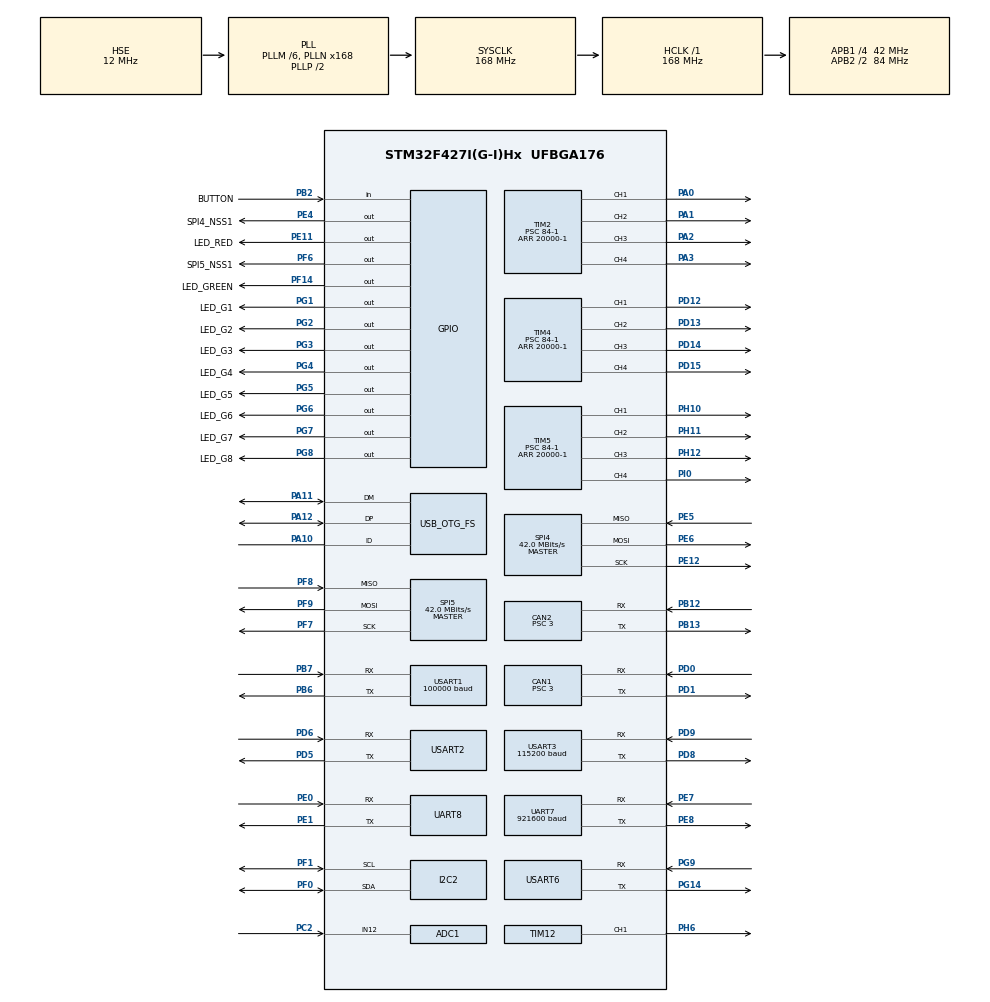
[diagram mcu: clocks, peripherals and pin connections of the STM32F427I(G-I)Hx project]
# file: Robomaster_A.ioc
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ADC1.Channel-0\#ChannelRegularConversion=ADC_CHANNEL_12
ADC1.NbrOfConversionFlag=1
ADC1.Rank-0\#ChannelRegularConversion=1
ADC1.SamplingTime-0\#ChannelRegularConversion=ADC_SAMPLETIME_3CYCLES
ADC1.master=1
CAN1.ABOM=ENABLE
CAN1.BS1=CAN_BS1_10TQ
CAN1.BS2=CAN_BS2_3TQ
CAN1.CalculateBaudRate=1000000
CAN1.CalculateTimeBit=1000
CAN1.CalculateTimeQuantum=71.42857142857143
CAN1.NART=ENABLE
CAN1.Prescaler=3
CAN2.ABOM=DISABLE
CAN2.BS1=CAN_BS1_10TQ
CAN2.BS2=CAN_BS2_3TQ
CAN2.CalculateBaudRate=1000000
CAN2.CalculateTimeBit=1000
CAN2.CalculateTimeQuantum=71.42857142857143
CAN2.NART=DISABLE
CAN2.Prescaler=3
CAN2.SJW=CAN_SJW_2TQ
Dma.Request0=TIM1_UP
Dma.Request1=TIM8_UP
Dma.TIM1_UP.0.Direction=DMA_MEMORY_TO_PERIPH
Dma.TIM1_UP.0.FIFOMode=DMA_FIFOMODE_ENABLE
Dma.TIM1_UP.0.FIFOThreshold=DMA_FIFO_THRESHOLD_FULL
Dma.TIM1_UP.0.Instance=DMA2_Stream5
Dma.TIM1_UP.0.MemBurst=DMA_MBURST_SINGLE
Dma.TIM1_UP.0.MemDataAlignment=DMA_MDATAALIGN_WORD
Dma.TIM1_UP.0.MemInc=DMA_MINC_ENABLE
Dma.TIM1_UP.0.Mode=DMA_NORMAL
Dma.TIM1_UP.0.PeriphBurst=DMA_PBURST_SINGLE
Dma.TIM1_UP.0.PeriphDataAlignment=DMA_PDATAALIGN_WORD
Dma.TIM1_UP.0.PeriphInc=DMA_PINC_DISABLE
Dma.TIM1_UP.0.Priority=DMA_PRIORITY_VERY_HIGH
Dma.TIM8_UP.1.Direction=DMA_PERIPH_TO_MEMORY
Dma.TIM8_UP.1.FIFOMode=DMA_FIFOMODE_DISABLE
Dma.TIM8_UP.1.Instance=DMA2_Stream1
Dma.TIM8_UP.1.MemDataAlignment=DMA_MDATAALIGN_HALFWORD
Dma.TIM8_UP.1.MemInc=DMA_MINC_ENABLE
Dma.TIM8_UP.1.Mode=DMA_NORMAL
Dma.TIM8_UP.1.PeriphDataAlignment=DMA_PDATAALIGN_HALFWORD
Dma.TIM8_UP.1.PeriphInc=DMA_PINC_DISABLE
Dma.TIM8_UP.1.Priority=DMA_PRIORITY_VERY_HIGH
FREERTOS.Tasks01=defaultTask,24,128,StartDefaultTask,Default,NULL,Dynamic,NULL,NULL
Mcu.Family=STM32F4
Mcu.Name=STM32F427I(G-I)Hx
Mcu.Package=UFBGA176
NVIC.CAN1_RX0_IRQn=true\:5\:0\:true\:false\:true\:true\:true\:true\:true
NVIC.CAN1_TX_IRQn=true\:5\:0\:true\:false\:true\:true\:true\:true\:true
NVIC.CAN2_RX0_IRQn=true\:5\:0\:true\:false\:true\:true\:true\:true\:true
NVIC.CAN2_TX_IRQn=true\:5\:0\:true\:false\:true\:true\:true\:true\:true
NVIC.DMA2_Stream1_IRQn=true\:5\:0\:true\:false\:true\:true\:false\:true\:true
NVIC.DMA2_Stream5_IRQn=true\:6\:0\:true\:false\:true\:true\:false\:true\:true
NVIC.PriorityGroup=NVIC_PRIORITYGROUP_4
NVIC.TIM1_UP_TIM10_IRQn=true\:15\:0\:false\:false\:true\:false\:false\:true\:true
NVIC.TIM6_DAC_IRQn=true\:15\:0\:false\:false\:true\:false\:false\:true\:true
NVIC.TIM7_IRQn=true\:5\:0\:true\:false\:true\:true\:true\:true\:true
NVIC.TimeBase=TIM6_DAC_IRQn
NVIC.TimeBaseIP=TIM6
NVIC.UART7_IRQn=true\:5\:0\:true\:false\:true\:true\:true\:true\:true
NVIC.UART8_IRQn=true\:5\:0\:true\:false\:true\:true\:true\:true\:true
NVIC.USART1_IRQn=true\:5\:0\:true\:false\:true\:true\:true\:true\:true
NVIC.USART2_IRQn=true\:5\:0\:true\:false\:true\:true\:true\:true\:true
NVIC.USART3_IRQn=true\:5\:0\:true\:false\:true\:true\:true\:true\:true
NVIC.USART6_IRQn=true\:5\:0\:true\:false\:true\:true\:true\:true\:true
PA0/WKUP.Signal=S_TIM2_CH1_ETR
PA1.Signal=S_TIM2_CH2
PA10.Mode=OTG/Dual_Role_Device
PA10.Signal=USB_OTG_FS_ID
PA11.Mode=OTG/Dual_Role_Device
PA11.Signal=USB_OTG_FS_DM
PA12.Mode=OTG/Dual_Role_Device
PA12.Signal=USB_OTG_FS_DP
PA13.Mode=Serial_Wire
PA13.Signal=SYS_JTMS-SWDIO
PA14.Mode=Serial_Wire
PA14.Signal=SYS_JTCK-SWCLK
PA2.GPIO_Speed=GPIO_SPEED_FREQ_VERY_HIGH
PA2.Signal=S_TIM2_CH3
PA3.GPIO_Speed=GPIO_SPEED_FREQ_VERY_HIGH
PA3.Signal=S_TIM2_CH4
PB12.Mode=CAN_Activate
PB12.Signal=CAN2_RX
PB13.Mode=CAN_Activate
PB13.Signal=CAN2_TX
PB2/BOOT1.GPIO_Label=BUTTON
PB2/BOOT1.GPIO_PuPd=GPIO_PULLDOWN
PB2/BOOT1.Signal=GPIO_Input
PB6.Mode=Asynchronous
PB6.Signal=USART1_TX
PB7.Mode=Asynchronous
PB7.Signal=USART1_RX
PC2.Signal=ADCx_IN12
PD0.Mode=CAN_Activate
PD0.Signal=CAN1_RX
PD1.Mode=CAN_Activate
PD1.Signal=CAN1_TX
PD12.GPIO_Speed=GPIO_SPEED_FREQ_VERY_HIGH
PD12.Signal=S_TIM4_CH1
PD13.GPIO_Speed=GPIO_SPEED_FREQ_VERY_HIGH
PD13.Signal=S_TIM4_CH2
PD14.GPIO_Speed=GPIO_SPEED_FREQ_VERY_HIGH
PD14.Signal=S_TIM4_CH3
PD15.GPIO_Speed=GPIO_SPEED_FREQ_VERY_HIGH
PD15.Signal=S_TIM4_CH4
PD5.Mode=Asynchronous
PD5.Signal=USART2_TX
PD6.Mode=Asynchronous
PD6.Signal=USART2_RX
PD8.Mode=Asynchronous
PD8.Signal=USART3_TX
PD9.Mode=Asynchronous
PD9.Signal=USART3_RX
PE0.Mode=Asynchronous
PE0.Signal=UART8_RX
PE1.Mode=Asynchronous
PE1.Signal=UART8_TX
PE11.GPIO_Label=LED_RED
PE11.GPIO_PuPd=GPIO_PULLUP
PE11.Signal=GPIO_Output
PE12.Mode=Full_Duplex_Master
PE12.Signal=SPI4_SCK
PE4.GPIO_Label=SPI4_NSS1
PE4.GPIO_PuPd=GPIO_PULLUP
PE4.GPIO_Speed=GPIO_SPEED_FREQ_VERY_HIGH
PE4.Signal=GPIO_Output
PE5.Mode=Full_Duplex_Master
PE5.Signal=SPI4_MISO
PE6.Mode=Full_Duplex_Master
PE6.Signal=SPI4_MOSI
PE7.Mode=Asynchronous
PE7.Signal=UART7_RX
PE8.Mode=Asynchronous
PE8.Signal=UART7_TX
PF0.Mode=I2C
PF0.Signal=I2C2_SDA
PF1.Mode=I2C
PF1.Signal=I2C2_SCL
PF14.GPIO_Label=LED_GREEN
PF14.GPIO_PuPd=GPIO_PULLUP
PF14.Signal=GPIO_Output
PF6.GPIO_Label=SPI5_NSS1
PF6.GPIO_ModeDefaultOutputPP=GPIO_MODE_OUTPUT_PP
PF6.GPIO_PuPd=GPIO_PULLUP
PF6.GPIO_Speed=GPIO_SPEED_FREQ_VERY_HIGH
PF6.Signal=GPIO_Output
PF7.Mode=Full_Duplex_Master
PF7.Signal=SPI5_SCK
PF8.Mode=Full_Duplex_Master
PF8.Signal=SPI5_MISO
PF9.Mode=Full_Duplex_Master
PF9.Signal=SPI5_MOSI
PG1.GPIO_Label=LED_G1
PG1.GPIO_PuPd=GPIO_PULLUP
PG1.Signal=GPIO_Output
PG14.Mode=Asynchronous
PG14.Signal=USART6_TX
PG2.GPIO_Label=LED_G2
PG2.GPIO_PuPd=GPIO_PULLUP
PG2.Signal=GPIO_Output
PG3.GPIO_Label=LED_G3
PG3.GPIO_PuPd=GPIO_PULLUP
PG3.Signal=GPIO_Output
PG4.GPIO_Label=LED_G4
PG4.GPIO_PuPd=GPIO_PULLUP
PG4.Signal=GPIO_Output
PG5.GPIO_Label=LED_G5
PG5.GPIO_PuPd=GPIO_PULLUP
PG5.Signal=GPIO_Output
PG6.GPIO_Label=LED_G6
PG6.GPIO_PuPd=GPIO_PULLUP
PG6.Signal=GPIO_Output
PG7.GPIO_Label=LED_G7
PG7.GPIO_PuPd=GPIO_PULLUP
PG7.Signal=GPIO_Output
PG8.GPIO_Label=LED_G8
PG8.GPIO_PuPd=GPIO_PULLUP
PG8.Signal=GPIO_Output
PG9.Mode=Asynchronous
PG9.Signal=USART6_RX
PH0/OSC_IN.Mode=HSE-External-Oscillator
PH0/OSC_IN.Signal=RCC_OSC_IN
PH1/OSC_OUT.Mode=HSE-External-Oscillator
PH1/OSC_OUT.Signal=RCC_OSC_OUT
PH10.GPIO_Speed=GPIO_SPEED_FREQ_VERY_HIGH
PH10.Signal=S_TIM5_CH1
PH11.GPIO_Speed=GPIO_SPEED_FREQ_VERY_HIGH
PH11.Signal=S_TIM5_CH2
PH12.GPIO_Speed=GPIO_SPEED_FREQ_VERY_HIGH
PH12.Signal=S_TIM5_CH3
PH6.Signal=S_TIM12_CH1
PI0.GPIO_Speed=GPIO_SPEED_FREQ_VERY_HIGH
PI0.Signal=S_TIM5_CH4
ProjectManager.HeapSize=0x3000
ProjectManager.StackSize=0x5000
ProjectManager.TargetToolchain=CMake
RCC.48MHZClocksFreq_Value=48000000
RCC.AHBFreq_Value=168000000
RCC.APB1CLKDivider=RCC_HCLK_DIV4
RCC.APB1Freq_Value=42000000
RCC.APB1TimFreq_Value=84000000
RCC.APB2CLKDivider=RCC_HCLK_DIV2
RCC.APB2Freq_Value=84000000
RCC.APB2TimFreq_Value=168000000
RCC.CortexFreq_Value=168000000
RCC.HCLKFreq_Value=168000000
RCC.HSE_VALUE=12000000
RCC.HSI_VALUE=16000000
RCC.LSE_VALUE=32768
RCC.PLLM=6
RCC.PLLN=168
RCC.PLLQ=7
RCC.SYSCLKFreq_VALUE=168000000
RCC.SYSCLKSource=RCC_SYSCLKSOURCE_PLLCLK
RCC.VCOOutputFreq_Value=336000000
SH.ADCx_IN12.0=ADC1_IN12,IN12
SH.S_TIM12_CH1.0=TIM12_CH1,PWM Generation1 CH1
SH.S_TIM2_CH1_ETR.0=TIM2_CH1,PWM Generation1 CH1
SH.S_TIM2_CH2.0=TIM2_CH2,PWM Generation2 CH2
SH.S_TIM2_CH3.0=TIM2_CH3,PWM Generation3 CH3
SH.S_TIM2_CH4.0=TIM2_CH4,PWM Generation4 CH4
SH.S_TIM4_CH1.0=TIM4_CH1,PWM Generation1 CH1
SH.S_TIM4_CH2.0=TIM4_CH2,PWM Generation2 CH2
SH.S_TIM4_CH3.0=TIM4_CH3,PWM Generation3 CH3
SH.S_TIM4_CH4.0=TIM4_CH4,PWM Generation4 CH4
SH.S_TIM5_CH1.0=TIM5_CH1,PWM Generation1 CH1
SH.S_TIM5_CH2.0=TIM5_CH2,PWM Generation2 CH2
SH.S_TIM5_CH3.0=TIM5_CH3,PWM Generation3 CH3
SH.S_TIM5_CH4.0=TIM5_CH4,PWM Generation4 CH4
SPI4.CalculateBaudRate=42.0 MBits/s
SPI4.Direction=SPI_DIRECTION_2LINES
SPI4.Mode=SPI_MODE_MASTER
SPI4.VirtualType=VM_MASTER
SPI5.CalculateBaudRate=42.0 MBits/s
SPI5.Direction=SPI_DIRECTION_2LINES
SPI5.Mode=SPI_MODE_MASTER
SPI5.VirtualType=VM_MASTER
TIM1.Period=11-1
TIM1.Prescaler=17-1
TIM1.TIM_MasterOutputTrigger=TIM_TRGO_UPDATE
TIM12.Channel-PWM\ Generation1\ CH1=TIM_CHANNEL_1
TIM12.Period=20000-1
TIM12.Prescaler=84-1
TIM2.Channel-PWM\ Generation1\ CH1=TIM_CHANNEL_1
TIM2.Channel-PWM\ Generation2\ CH2=TIM_CHANNEL_2
TIM2.Channel-PWM\ Generation3\ CH3=TIM_CHANNEL_3
TIM2.Channel-PWM\ Generation4\ CH4=TIM_CHANNEL_4
TIM2.Period=20000-1
TIM2.Prescaler=84-1
TIM4.Channel-PWM\ Generation1\ CH1=TIM_CHANNEL_1
TIM4.Channel-PWM\ Generation2\ CH2=TIM_CHANNEL_2
TIM4.Channel-PWM\ Generation3\ CH3=TIM_CHANNEL_3
TIM4.Channel-PWM\ Generation4\ CH4=TIM_CHANNEL_4
TIM4.Period=20000-1
TIM4.Prescaler=84-1
TIM5.Channel-PWM\ Generation1\ CH1=TIM_CHANNEL_1
TIM5.Channel-PWM\ Generation2\ CH2=TIM_CHANNEL_2
TIM5.Channel-PWM\ Generation3\ CH3=TIM_CHANNEL_3
TIM5.Channel-PWM\ Generation4\ CH4=TIM_CHANNEL_4
TIM5.Period=20000-1
TIM5.Prescaler=84-1
TIM7.Period=1000-1
TIM7.Prescaler=84-1
TIM8.Period=11-1
TIM8.Prescaler=17-1
TIM8.TIM_MasterOutputTrigger=TIM_TRGO_UPDATE
UART7.BaudRate=921600
UART7.VirtualMode=Asynchronous
UART8.VirtualMode=Asynchronous
USART1.BaudRate=100000
USART1.Mode=MODE_RX
USART1.Parity=PARITY_EVEN
USART1.StopBits=STOPBITS_2
USART1.VirtualMode=VM_ASYNC
USART1.WordLength=WORDLENGTH_9B
USART2.VirtualMode=VM_ASYNC
USART3.BaudRate=115200
USART3.VirtualMode=VM_ASYNC
USART6.VirtualMode=VM_ASYNC
VP_FREERTOS_VS_CMSIS_V2.Mode=CMSIS_V2
VP_IWDG_VS_IWDG.Mode=IWDG_Activate
VP_SYS_VS_tim6.Mode=TIM6
VP_TIM12_VS_ClockSourceINT.Mode=Internal
VP_TIM1_VS_ClockSourceINT.Mode=Internal
VP_TIM2_VS_ClockSourceINT.Mode=Internal
VP_TIM4_VS_ClockSourceINT.Mode=Internal
VP_TIM5_VS_ClockSourceINT.Mode=Internal
VP_TIM7_VS_ClockSourceINT.Mode=Enable_Timer
VP_TIM8_VS_ClockSourceINT.Mode=Internal
board=custom

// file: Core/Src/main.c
/* USER CODE BEGIN Header */
/**
  ******************************************************************************
  * @file           : main.c
  * @brief          : Main program body
  ******************************************************************************
  * @attention
  *
  * Copyright (c) 2025 STMicroelectronics.
  * All rights reserved.
  *
  * This software is licensed under terms that can be found in the LICENSE file
  * in the root directory of this software component.
  * If no LICENSE file comes with this software, it is provided AS-IS.
  *
  ******************************************************************************
  */
/* USER CODE END Header */
#include "main.h"
#include "cmsis_os.h"
#include "adc.h"
#include "can.h"
#include "dma.h"
#include "i2c.h"
#include "iwdg.h"
#include "spi.h"
#include "tim.h"
#include "usart.h"
#include "usb_otg.h"
#include "gpio.h"

void SystemClock_Config(void);
void MX_FREERTOS_Init(void);
/* USER CODE BEGIN PFP */
void SystemClock_PreConfig(void);
void SystemClock_PostConfig(void);

void BSP_Setup();
void Setup();
void Loop();
void MainControlTimCallback(TIM_HandleTypeDef *htim);
/* USER CODE END PFP */

int main(void)
{

  /* USER CODE BEGIN 1 */
  static uint8_t firstEnter = 1;
  if(firstEnter) {
  /* USER CODE END 1 */

  /* MCU Configuration--------------------------------------------------------*/

  /* Reset of all peripherals, Initializes the Flash interface and the Systick. */
  HAL_Init();

  /* USER CODE BEGIN Init */
    SystemClock_PreConfig();
  /* USER CODE END Init */

  /* Configure the system clock */
  SystemClock_Config();

  /* USER CODE BEGIN SysInit */
    SystemClock_PostConfig();
  /* USER CODE END SysInit */

  /* Initialize all configured peripherals */
  MX_GPIO_Init();
  MX_DMA_Init();
  MX_CAN1_Init();
  MX_CAN2_Init();
  MX_I2C2_Init();
  MX_TIM2_Init();
  MX_TIM4_Init();
  MX_TIM5_Init();
  MX_TIM8_Init();
  MX_TIM12_Init();
  MX_UART7_Init();
  MX_UART8_Init();
  MX_USART1_UART_Init();
  MX_USART3_UART_Init();
  MX_USART6_UART_Init();
  MX_USB_OTG_FS_USB_Init();
  MX_TIM1_Init();
  MX_SPI4_Init();
  MX_ADC1_Init();
  MX_IWDG_Init();
  MX_TIM7_Init();
  MX_USART2_UART_Init();
  MX_SPI5_Init();
  /* USER CODE BEGIN 2 */
    HAL_GPIO_WritePin(LED_G1_GPIO_Port, LED_G1_Pin|LED_G2_Pin|LED_G3_Pin|LED_G4_Pin|LED_G5_Pin|LED_G6_Pin|LED_G7_Pin|LED_G8_Pin, GPIO_PIN_SET);
    HAL_GPIO_WritePin(LED_GREEN_GPIO_Port, LED_GREEN_Pin, GPIO_PIN_SET);

    firstEnter = 0;
  }
  else {
    BSP_Setup();
    Setup();
  /* USER CODE END 2 */

  /* Init scheduler */
  osKernelInitialize();  /* Call init function for freertos objects (in cmsis_os2.c) */
  MX_FREERTOS_Init();

  /* Start scheduler */
  osKernelStart();

  /* We should never get here as control is now taken by the scheduler */

  /* Infinite loop */
  while (1) {

    /* USER CODE BEGIN 3 */
      Loop();
    }
  }
  /* USER CODE END 3 */
}

void SystemClock_Config(void)
{
  RCC_OscInitTypeDef RCC_OscInitStruct = {0};
  RCC_ClkInitTypeDef RCC_ClkInitStruct = {0};

  /** Configure the main internal regulator output voltage
  */
  __HAL_RCC_PWR_CLK_ENABLE();
  __HAL_PWR_VOLTAGESCALING_CONFIG(PWR_REGULATOR_VOLTAGE_SCALE1);

  /** Initializes the RCC Oscillators according to the specified parameters
  * in the RCC_OscInitTypeDef structure.
  */
  RCC_OscInitStruct.OscillatorType = RCC_OSCILLATORTYPE_LSI|RCC_OSCILLATORTYPE_HSE;
  RCC_OscInitStruct.HSEState = RCC_HSE_ON;
  RCC_OscInitStruct.LSIState = RCC_LSI_ON;
  RCC_OscInitStruct.PLL.PLLState = RCC_PLL_ON;
  RCC_OscInitStruct.PLL.PLLSource = RCC_PLLSOURCE_HSE;
  RCC_OscInitStruct.PLL.PLLM = 6;
  RCC_OscInitStruct.PLL.PLLN = 168;
  RCC_OscInitStruct.PLL.PLLP = RCC_PLLP_DIV2;
  RCC_OscInitStruct.PLL.PLLQ = 7;
  if (HAL_RCC_OscConfig(&RCC_OscInitStruct) != HAL_OK)
  {
    Error_Handler();
  }

  /** Initializes the CPU, AHB and APB buses clocks
  */
  RCC_ClkInitStruct.ClockType = RCC_CLOCKTYPE_HCLK|RCC_CLOCKTYPE_SYSCLK
                              |RCC_CLOCKTYPE_PCLK1|RCC_CLOCKTYPE_PCLK2;
  RCC_ClkInitStruct.SYSCLKSource = RCC_SYSCLKSOURCE_PLLCLK;
  RCC_ClkInitStruct.AHBCLKDivider = RCC_SYSCLK_DIV1;
  RCC_ClkInitStruct.APB1CLKDivider = RCC_HCLK_DIV4;
  RCC_ClkInitStruct.APB2CLKDivider = RCC_HCLK_DIV2;

  if (HAL_RCC_ClockConfig(&RCC_ClkInitStruct, FLASH_LATENCY_5) != HAL_OK)
  {
    Error_Handler();
  }
}

/* USER CODE BEGIN 4 */
/**
 * @brief 将时钟源选择为内部时钟，避免Clion的Debug模式无法使能锁相环
 */
void SystemClock_PreConfig(void) {
  RCC_ClkInitTypeDef RCC_ClkInitStruct = {0};
  RCC_ClkInitStruct.ClockType = RCC_CLOCKTYPE_SYSCLK;
  RCC_ClkInitStruct.SYSCLKSource = RCC_SYSCLKSOURCE_HSI;
  if (HAL_RCC_ClockConfig(&RCC_ClkInitStruct, FLASH_LATENCY_5) != HAL_OK) {
    Error_Handler();
  }
}

void SystemClock_PostConfig(void) {
  RCC_OscInitTypeDef RCC_OscInitStruct = {0};
  RCC_OscInitStruct.OscillatorType = RCC_OSCILLATORTYPE_HSI;
  RCC_OscInitStruct.HSIState = RCC_HSI_OFF;
  RCC_OscInitStruct.PLL.PLLState = RCC_PLL_NONE;
  if(HAL_RCC_OscConfig(&RCC_OscInitStruct) != HAL_OK) {
    Error_Handler();
  }
}
/* USER CODE END 4 */

void HAL_TIM_PeriodElapsedCallback(TIM_HandleTypeDef *htim)
{
  if (htim->Instance == TIM6)
  {
    HAL_IncTick();
  }
  /* USER CODE BEGIN Callback 1 */
    MainControlTimCallback(htim);
  /* USER CODE END Callback 1 */
}

void Error_Handler(void)
{
  __disable_irq();
  while (1)
  {
  }
}
